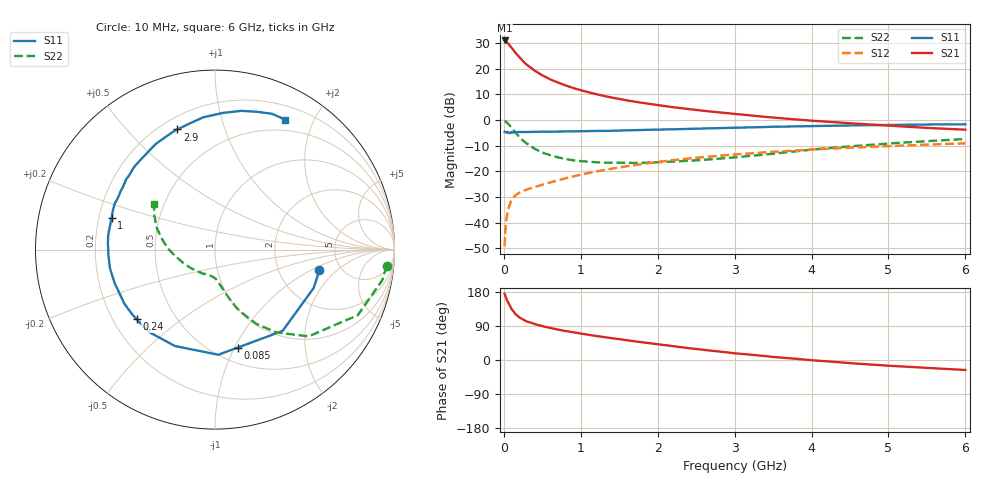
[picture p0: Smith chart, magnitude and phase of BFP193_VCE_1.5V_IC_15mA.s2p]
! Infineon Technologies  Discrete & RF Semiconductors
! BFP193
! VCE = 1.5 V,  IC =  15 mA
! Common Emitter S-Parameters:  Jan 2016
# GHz  S  MA  R  50
!  f  S11  S21  S12  S22
! GHz  MAG  ANG  MAG  ANG  MAG  ANG  MAG  ANG
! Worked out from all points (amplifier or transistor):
!   210 points, 10 MHz to 6 GHz, reference 50 ohm
!   highest |S21| = 31.0 dB at 10 MHz (marker M1)
!   |S21| within 3 dB of that: start of sweep to 105.8 MHz
!   unconditionally stable (mu >= 1): 825.1 MHz to 3.839 GHz
!   at 185 MHz: K = 0.42, MSG = 26.8 dB, |S12| = -28.6 dB
!   at 1.52 GHz: K = 1.09, MAG = 11.4 dB, |S12| = -18.4 dB
!   at 6 GHz: K = 0.94, MSG = 2.7 dB, |S12| = -9.1 dB
!   S11 on the Smith chart (normalised r, x): 10 MHz: 3.45, -1.22; 85 MHz: 0.65, -1.03; 240 MHz: 0.30, -0.35; 1 GHz: 0.25, +0.14; 2.9 GHz: 0.27, +0.70; 6 GHz: 0.36, +1.62
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0.01  0.5931 -11.1  35.41 174.9  0.0035 84.2  0.9616 -5.4
0.02  0.5899 -21.3  34.4 168.2  0.0073 84.5  0.9471 -10.4
0.05  0.5892 -50.3  31.77 153.5  0.0169 70.4  0.8753 -24.7
0.085  0.5604 -77.0  27.21 141.0  0.0244 59.6  0.7521 -36.6
0.1  0.5862 -88.2  25.75 134.5  0.0278 56.8  0.7115 -42.8
0.15  0.5818 -112.6  20.44 121.2  0.0341 49.5  0.5715 -53.7
0.2  0.5883 -128.8  16.75 112.6  0.0382 46.7  0.4706 -61.1
0.24  0.5846 -138.4  14.43 107.7  0.0408 45.6  0.4103 -64.9
0.3  0.588 -149.2  11.86 101.5  0.0445 45.3  0.3471 -69.6
0.4  0.5895 -161.6  9.175 94.7  0.0497 46.1  0.2755 -74.4
0.5  0.5943 -169.9  7.398 89.1  0.0548 48.3  0.2323 -78.0
0.6  0.5946 -176.7  6.219 84.4  0.0609 50.0  0.2059 -80.7
0.7  0.5976 177.1  5.381 80.1  0.0667 50.9  0.1877 -83.3
1  0.6029 163.0  3.801 69.7  0.0861 52.8  0.1583 -90.4
1.02  0.6039 162.2  3.735 69.1  0.0875 52.9  0.1575 -90.9
1.4  0.6182 148.3  2.738 57.7  0.1122 52.3  0.1479 -101.0
2.02  0.6497 129.7  1.928 41.1  0.1539 47.9  0.151 -121.0
2.9  0.7015 107.4  1.357 20.1  0.2074 39.0  0.182 -151.7
3.1  0.7114 103.2  1.269 16.0  0.2187 36.8  0.1932 -158.1
4.1  0.7662 85.3  0.948 -2.0  0.2709 25.9  0.2728 175.6
5.1  0.8058 71.8  0.765 -16.2  0.315 15.0  0.3569 157.0
6  0.8229 61.6  0.649 -26.3  0.3521 5.4  0.4266 143.0
